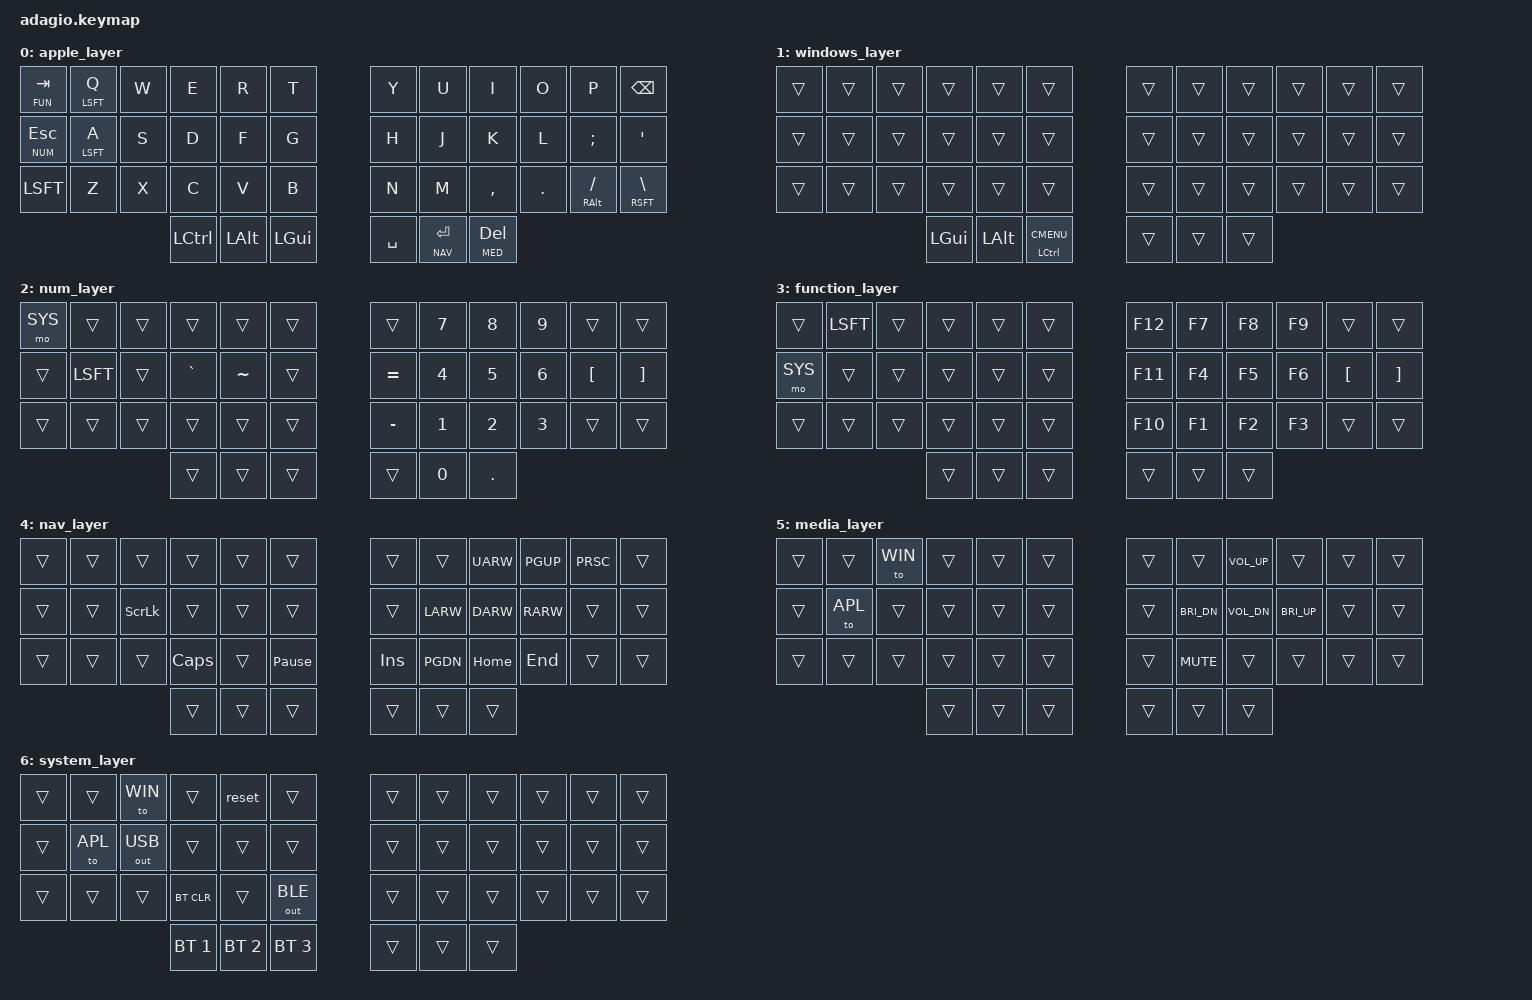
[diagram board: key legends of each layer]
#include <behaviors.dtsi>
#include <dt-bindings/zmk/bt.h>
#include <dt-bindings/zmk/keys.h>
#include <dt-bindings/zmk/outputs.h>

#define APL 0
#define WIN 1
#define NUM 2
#define FUN 3
#define NAV 4
#define MED 5
#define SYS 6

/ {

    behaviors {
        hlt: hold_preferred_layer_tap {
            compatible = "zmk,behavior-hold-tap";
            label = "HOLD_PREFERRED_LAYER_TAP";
            #binding-cells = <2>;
            flavor = "hold-preferred";
            tapping-term-ms = <200>;
            bindings = <&mo>, <&kp>;
        };

        tmt: tap_preferred_mod_tap {
            compatible = "zmk,behavior-hold-tap";
            label = "TAP_PREFERRED_MOD_TAP";
            #binding-cells = <2>;
            flavor = "tap-preferred";
            // Longer tapping term (default=200ms), tap is strongly preferred!
            tapping-term-ms = <300>;
            bindings = <&kp>, <&kp>;
        };

        // Short tapping term, required_keys_for_hold is the primary mechanism
        // to prevent unintentional HOLD behaviors.
        cmt: c_mod_tap {
            compatible = "zmk,behavior-hold-tap";
            label = "CONDITIONAL_HOLD_TAP";
            #binding-cells = <2>;
            flavor = "hold-preferred";
            tapping-term-ms = <100>;
            bindings = <&kp>, <&kp>;
            hold-enabler-keys = <0 12>;
        };
    };

    keymap {
        compatible = "zmk,keymap";

        apple_layer {
            bindings = <
    &hlt FUN TAB  &cmt LSFT Q  &kp W    &kp E    &kp R     &kp T    /**/   &kp Y      &kp U          &kp I      &kp O       &kp P         &kp BKSP
    &hlt NUM ESC  &cmt LSFT A  &kp S    &kp D    &kp F     &kp G    /**/   &kp H      &kp J          &kp K      &kp L     &kp SCLN        &kp QUOT
      &kp LSFT       &kp Z     &kp X    &kp C    &kp V     &kp B    /**/   &kp N      &kp M        &kp CMMA    &kp DOT  &tmt RALT FSLH  &mt RSFT BSLH
                                      &kp LCTL  &kp LALT  &kp LGUI  /**/  &kp SPC  &hlt NAV RET  &hlt MED DEL
            >;
        };

        windows_layer {
            bindings = <
    &trans   &trans   &trans    &trans     &trans       &trans          /**/  &trans  &trans  &trans  &trans  &trans  &trans
    &trans   &trans   &trans    &trans     &trans       &trans          /**/  &trans  &trans  &trans  &trans  &trans  &trans
    &trans   &trans   &trans    &trans     &trans       &trans          /**/  &trans  &trans  &trans  &trans  &trans  &trans
                               &kp LGUI   &kp LALT   &mt LCTL K_CMENU   /**/  &trans  &trans  &trans
            >;
        };

        num_layer {
            bindings = <
    &mo SYS   &trans   &trans   &trans    &trans    &trans  /**/   &trans    &kp NUM_7  &kp NUM_8  &kp NUM_9   &trans    &trans
    &trans   &kp LSFT  &trans  &kp GRAV  &kp TILDE  &trans  /**/   &kp EQL   &kp NUM_4  &kp NUM_5  &kp NUM_6  &kp LBKT  &kp RBKT
    &trans    &trans   &trans   &trans    &trans    &trans  /**/  &kp MINUS  &kp NUM_1  &kp NUM_2  &kp NUM_3   &trans    &trans
                                &trans    &trans    &trans  /**/   &trans    &kp NUM_0   &kp DOT
            >;
        };

        function_layer {
            bindings = <
    &trans   &kp LSFT  &trans  &trans  &trans  &trans  /**/  &kp F12   &kp F7   &kp F8   &kp F9    &trans     &trans
    &mo SYS   &trans   &trans  &trans  &trans  &trans  /**/  &kp F11   &kp F4   &kp F5   &kp F6   &kp LBKT   &kp RBKT
    &trans    &trans   &trans  &trans  &trans  &trans  /**/  &kp F10   &kp F1   &kp F2   &kp F3    &trans     &trans
                               &trans  &trans  &trans  /**/  &trans    &trans   &trans
            >;
        };

        nav_layer {
            bindings = <
    &trans  &trans  &trans     &trans   &trans     &trans        /**/  &trans   &trans    &kp UARW  &kp PGUP  &kp PRSC  &trans
    &trans  &trans  &kp SLCK   &trans   &trans     &trans        /**/  &trans   &kp LARW  &kp DARW  &kp RARW   &trans   &trans
    &trans  &trans  &trans    &kp CLCK  &trans  &kp PAUSE_BREAK  /**/  &kp INS  &kp PGDN  &kp HOME  &kp END    &trans   &trans
                               &trans   &trans     &trans        /**/  &trans   &trans    &trans
            >;
        };

        media_layer {
            bindings = <
    &trans  &trans   &to WIN  &trans  &trans  &trans  /**/  &trans    &trans      &kp C_VOL_UP    &trans      &trans  &trans
    &trans  &to APL  &trans   &trans  &trans  &trans  /**/  &trans  &kp C_BRI_DN  &kp C_VOL_DN  &kp C_BRI_UP  &trans  &trans
    &trans  &trans   &trans   &trans  &trans  &trans  /**/  &trans  &kp C_MUTE      &trans        &trans      &trans  &trans
                              &trans  &trans  &trans  /**/  &trans    &trans        &trans
            >;
        };

        system_layer {
            bindings = <
    &trans  &trans      &to WIN      &trans      &reset       &trans      /**/  &trans  &trans  &trans  &trans  &trans  &trans
    &trans  &to APL  &out OUT_USB    &trans      &trans       &trans      /**/  &trans  &trans  &trans  &trans  &trans  &trans
    &trans  &trans      &trans     &bt BT_CLR    &trans     &out OUT_BLE  /**/  &trans  &trans  &trans  &trans  &trans  &trans
                                &bt BT_SEL  1 &bt BT_SEL 2  &bt BT_SEL 3  /**/  &trans  &trans  &trans
            >;
        };
    };
};
